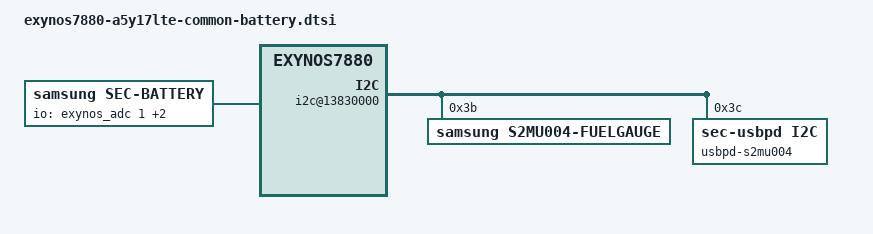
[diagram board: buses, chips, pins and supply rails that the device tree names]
/*
 * SAMSUNG UNIVERSAL7880 board device tree source
 *
 * Copyright (c) 2016 Samsung Electronics Co., Ltd.
 *		http://www.samsung.com
 *
 * This program is free software; you can redistribute it and/or modify
 * it under the terms of the GNU General Public License version 2 as
 * published by the Free Software Foundation.
*/

/ {
	pinctrl@139F0000 {
		fuel_irq: fuel-irq {
			samsung,pins = "gpa0-3";
			samsung,pin-function = <0>;
			samsung,pin-pud = <2>;
			samsung,pin-drv = <0>;
		};

		if_pmic_irq: if-pmic-irq {
			samsung,pins = "gpa2-7";
			samsung,pin-function = <0>;
			samsung,pin-pud = <0>;
			samsung,pin-drv = <0>;
		};

		usbpd_irq: usbpd-irq {
			samsung,pins = "gpa1-3";
			samsung,pin-function = <0x0f>;
			samsung,pin-pud = <0>;
			samsung,pin-drv = <0>;
		};
	};

	i2c@13830000 {
		i2c-gpio,delay-us = <5>;
		status = "okay";
		s2mu004-fuelgauge@3B {
			compatible = "samsung,s2mu004-fuelgauge";
			reg = <0x3B>;
			pinctrl-names = "default";
			pinctrl-0 = <&fuel_irq>;
			fuelgauge,fuel_int = <&gpa0 3 0>;
			fuelgauge,fuel_alert_soc = <1>;
			fuelgauge,fuel_alert_vol = <3300>;
			fuelgauge,capacity_max = <1000>;
			fuelgauge,capacity_max_margin = <200>;
			fuelgauge,capacity_min = <0>;
			fuelgauge,capacity_calculation_type = <28>;
			fuelgauge,capacity_full = <3000>;
			fuelgauge,type_str = "SDI";
			fuelgauge,model_type = <1>;
		};
		usbpd-s2mu004@3C {
			compatible = "sec-usbpd,i2c";
			reg = <0x3C>;
			pinctrl-names = "default";
			pinctrl-0     = <&usbpd_irq>;
			usbpd,usbpd_int = <&gpa1 3 0>;
		};
	};

	battery_params {
			battery,battery_data = 
				<
				/***** battery data for 4.35 *****/
				/* battery,battery_table3 */
				204 11 61 11 175 10 34 10 169 9
				55 9 206 8 107 8 230 7 166 7
				77 7 234 6 174 6 130 6 95 6
				67 6 36 6 253 5 197 5 147 5
				42 5 168 1 247 8 136 8 24 8
				169 7 58 7 202 6 91 6 236 5
				124 5 13 5 158 4 47 4 191 3
				80 3 225 2 113 2 2 2 147 1
				36 1 180 0 69 0 214 15

				/* battery,battery_table4 */
				62 62 61 60 61 60 59 60 60 58
				58 58 58 58 58 58 59 60 62 64
				76 154

				/* battery,batcap */
				0xE0 0x2E 0xB8 0x0B /* [0x0E] [0x0F] [0x10] [0x11] */
				/* battery,accum */ 
				0x8 0x00 /* [0x45] [0x44] */

				/* battery,soc_arr_val */
				11205 10662 10119 9575 9032 8488 7945 7402 6858 6315 5771 5228 4685 4141 3598 3054 2511 1968 1424 881 337 (-206)
				/* battery,ocv_arr_val */
				44747 44050 43353 42664 42077 41520 41006 40522 39872 39562 39127 38645 38349 38135 37966 37828 37676 37485 37211 36970 36454 32069


				/***** battery data for 4.33 *****/
				/* battery,battery_table3 */
				80 11 211 10 85 10 216 9 99 9
				244 8 141 8 41 8 212 7 133 7
				22 7 207 6 158 6 120 6 89 6
				63 6 29 6 243 5 196 5 136 5 
				105 5 199 2 219 8 110 8 0 8
				146 7 37 7 183 6 73 6 220 5
				110 5 0 5 147 4 37 4 183 3 
				74 3 220 2 111 2 1 2 147 1
				38 1 184 0 74 0 221 15

				/* battery,battery_table4 */
				53 53 52 52 52 53 53 53 52 52
				53 53 54 54 53 54 54 55 56 61
				75 133

				/* battery,batcap */
				0x10 0x2C 0x04 0x0B /* [0x0E] [0x0F] [0x10] [0x11] */
				/* battery,accum */
				0x8 0x00 /* [0x45] [0x44] */

				/* battery,soc_arr_val */
				11070 10535 10000 9465 8929 8394 7859 7323 6788 6252 5717 5182 4646 4111 3576 3040 2505 1970 1434 898 363 (-173)
				/* battery,ocv_arr_val */
				44143 43530 42917 42304 41734 41194 40687 40199 39787 39399 38859 38509 38272 38085 37936 37808 37642 37439 37205 36913 36763 33474
		
				/***** battery data for 4.31 *****/
				/* battery,battery_table3 */
				40 11 172 10 48 10 181 9 66 9
				213 8 114 8 14 8 190 7 105 7
				252 6 191 6 146 6 110 6 81 6
				56 6 17 6 234 5 177 5 133 5
				9 5 92 1 223 8 112 8 0 8
				144 7 33 7 177 6 65 6 210 5
				98 5 242 4 131 4 19 4 163 3
				52 3 196 2 84 2 229 1 117 1
				5 1 149 0 38 0 201 15

				/* battery,battery_table4 */
				51 51 51 51 51 52 52 52 53 52
				52 53 53 54 54 55 55 56 56 58
				62 151

				/* battery,batcap */                                  
				0x48 0x2B 0xD2 0x0A /* [0x0E] [0x0F] [0x10] [0x11] */ 
				/* battery,accum */
				0x8 0x00 /* [0x45] [0x44] */

				/* battery,soc_arr_val */
				11090 10545 10000 9455 8909 8364 7819 7274 6728 6183 5638 5092 4547 4002 3457 2911 2366 1821 1275 730 185 (-270)
				/* battery,ocv_arr_val */
				43944 43340 42736 42132 41573 41042 40556 40069 39680 39264 38730 38431 38211 38036 37896 37774 37582 37392 37114 36900 36295 31701

				/***** battery data for 4.29 *****/
				/* battery,battery_table3 */
				254 10 132 10 10 10 144 9 30 9
				179 8 81 8 243 7 166 7 67 7
				230 6 176 6 134 6 101 6 74 6
				46 6 4 6 219 5 153 5 130 5
				97 4 70 1 226 8 113 8 0 8
				143 7 30 7 173 6 60 6 203 5
				90 5 233 4 120 4 7 4 150 3
				37 3 180 2 67 2 211 1 97 1
				240 0 127 0 14 0 210 15

				/* battery,battery_table4 */
				52 52 52 51 51 52 52 52 53 52
				52 52 53 54 54 55 55 56 57 60
				68 135

				/* battery,batcap */                                  
				0xA8 0x2A 0xAA 0x0A /* [0x0E] [0x0F] [0x10] [0x11] */ 
				/* battery,accum */
				0x8 0x00 /* [0x45] [0x44] */

				/* battery,soc_arr_val */
				11104 10552 10000 9448 8897 8345 7794 7242 6690 6139 5587 5036 4484 3932 3381 2829 2278 1726 1174 622 70 (-224)

				/* battery,ocv_arr_val */
				43742 43145 42548 41951 41397 40875 40395 39938 39560 39077 38622 38358 38154 37991 37861 37724 37518 37319 36996 36884 35474 31590	

				/***** battery data for 4.24 *****/
				/* batterybattery_table3 */
				9 11 147 10 29 10 167 9 50 9
				196 8 97 8 0 8 177 7 88 7
				240 6 183 6 140 6 105 6 78 6
				51 6 9 6 227 5 165 5 132 5
				183 4 67 1 100 9 238 8 119 8
				0 8 137 7 19 7 156 6 37 6
				174 5 56 5 193 4 74 4 212 3
				93 3 230 2 111 2 249 1 130 1
				11 1 148 0 30 0 206 15

				/* batterybattery_table4 */
				51 51 51 51 51 51 52 52 52 52
				52 52 53 54 54 55 55 56 57 60
				66 154

				/* batterybatcap */                                  
				0xA0 0x28 0x28 0x0A/* [0x0E] [0x0F] [0x10] [0x11] */ 
				/* batteryaccum */
				0x8 0x00 /* [0x45] [0x44] */

				/* batterysoc_arr_val */
				11740 11160 10580 10000 9420 8841 8261 7681 7101 6522 5942 5362 4783 4203 3623 3043 2464 1884 1304 725 145 (-245)

				/* batteryocv_arr_val */
				43793 43218 42643 42068 41493 40958 40475 40001 39614 39178 38671 38394 38182 38014 37881 37750 37546 37358 37056 36896 35892 31579
				>;
	
			battery,battery_table3 = <204 11 61 11 175 10 34 10 169 9
						55 9 206 8 107 8 230 7 166 7
						77 7 234 6 174 6 130 6 95 6
						67 6 36 6 253 5 197 5 147 5
						42 5 168 1 247 8 136 8 24 8
						169 7 58 7 202 6 91 6 236 5
						124 5 13 5 158 4 47 4 191 3
						80 3 225 2 113 2 2 2 147 1
						36 1 180 0 69 0 214 15>;

			battery,battery_table4 = <62 62 61 60 61 60 59 60 60 58
						58 58 58 58 58 58 59 60 62 64
						76 154>;

			battery,batcap = <0xE0 0x2E 0xB8 0x0B>; /* [0x0E] [0x0F] [0x10] [0x11] */
			battery,accum = <0x8 0x00>; /* [0x45] [0x44] */

			battery,soc_arr_val = <11205 10662 10119 9575 9032 8488 7945 7402 6858 6315 5771 5228 4685 4141 3598 3054 2511 1968 1424 881 337 (-206)>;
			battery,ocv_arr_val = <44747 44050 43353 42664 42077 41520 41006 40522 39872 39562 39127 38645 38349 38135 37966 37828 37676 37485 37211 36970 36454 32069>;
	};

	pdic-manager {
		/* sink */
		pdic,max_power = <5000>;
		pdic,op_power = <2500>;
		pdic,max_voltage = <6000>;
		pdic,max_current = <2000>;
		pdic,min_current = <500>;

		pdic,giveback = <0>;
		pdic,usb_com_capable = <1>;
		pdic,no_usb_suspend = <1>;

		/* source */
		source,max_voltage = <5000>;
		source,min_voltage = <4000>;
		source,max_power = <2500>;

		/* sink cap */
		sink,capable_max_voltage = <9000>;
	};

	battery {
		status = "okay";
		compatible = "samsung,sec-battery";

		pinctrl-names = "default";

		battery,vendor = "SDI SDI";
		battery,charger_name = "s2mu004-charger";
		battery,fuelgauge_name = "s2mu004-fuelgauge";
		battery,technology = <2>; /* POWER_SUPPLY_TECHNOLOGY_LION */

		battery,chip_vendor = "LSI";
		battery,temp_adc_type = <1>; /* SEC_BATTERY_ADC_TYPE_AP */

		battery,chg_thermal_source = <1>;  /* SEC_CHARGER_THERMAL_SOURCE_ADC */
		battery,chg_temp_check = <1>;
		battery,slave_chg_temp_check = <0>;

		battery,polling_time = <10 30 30 30 3600>;

		battery,temp_table_adc = <297 343 389 475 543 622 674 767 821 903 1049 1208 1332 1405 1481 1590 1816 2026
						2253 2493 2629 2718 2809 2939 3115 3306 3431 3569 3676>;
		battery,temp_table_data = <900 850 800 750 700 650 620 600 580 550 500 450 420 400 380 350 300 250
						200 150 120 100 80 50 0 (-50) (-100) (-150) (-200)>;

		battery,chg_temp_table_adc = <236 308 376 449 509 581 593 760 816 901 1046 1211 1334 1405 1482 1586 1790 2001
						2217 2445 2570 2655 2740 2858 3046 3199 3335 3453 3537>;
		battery,chg_temp_table_data = <900 850 800 750 700 650 620 600 580 550 500 450 420 400 380 350 300 250
						200 150 120 100 80 50 0 (-50) (-100) (-150) (-200)>;

		battery,input_current_limit = <1800 450 450 1800 500 900 1500 450 1000 450 900 900 900 1900 1800 450 450 400 700 1300 300 1000 1500 450 1650 2100 500 1650 80 1800 1650 1400 1000 1000 700 900 900 900 500 1800 1650 3000>;
		battery,fast_charging_current = <2100 450 450 2100 800 1200 1500 450 1200 450 2100 2100 2100 1600 2100 450 450 400 700 1300 300 1000 1500 450 2400 3500 500 2400 80 1800 1000 1400 450 1000 2100 2100 2100 2100 450 2100 2400 3000>;
		battery,full_check_current_1st = <300 0 0 300 300 300 300 300 300 0 300 300 300 300 300 0 0 300 300 300 300 300 300 0 300 300 300 300 0 300 300 300 0 300 300 300 300 300 300 300 300 300>;
		battery,full_check_current_2nd = <150 0 0 150 150 150 150 150 150 0 150 150 150 150 150 0 0 150 150 150 150 150 150 0 150 150 150 150 0 150 150 150 0 150 150 150 150 150 150 150 150 150>;

		battery,wireless_cc_cv = <85>;
		battery,inbat_voltage = <1>;

		battery,inbat_voltage_table_adc = <2817 2803 2783 2753 2728 2701 2680 2654 2628 2597
						2565 2536 2509 2478 2450 2426 2401 2372 2343 2321 2290>;
		battery,inbat_voltage_table_data = <4383 4352 4306 4253 4204 4152 4101 4053 4002 3954
						3903 3852 3801 3750 3702 3654 3601 3552 3503 3456 3402>;

		battery,adc_check_count = <5>;

		battery,cable_check_type = <4>; /* SEC_BATTERY_CABLE_CHECK_PSY */
		battery,cable_source_type = <1>; /* SEC_BATTERY_CABLE_SOURCE_EXTERNAL */
		battery,polling_type = <1>; /* SEC_BATTERY_MONITOR_ALARM */
		battery,monitor_initial_count = <0>;

		battery,pre_afc_input_current = <500>;

		battery,battery_check_type = <0>; /* SEC_BATTERY_CHECK_NONE */
		battery,check_count = <0>;
		battery,check_adc_max = <1440>;
		battery,check_adc_min = <0>;

		battery,ovp_uvlo_check_type = <3>; /* SEC_BATTERY_OVP_UVLO_CHGPOLLING */

		battery,thermal_source = <2>; /* SEC_BATTERY_THERMAL_SOURCE_ADC */

		battery,temp_check_type = <2>; /* SEC_BATTERY_TEMP_CHECK_TEMP */
		battery,temp_check_count = <1>;
		battery,temp_highlimit_threshold_normal = <800>;
		battery,temp_highlimit_recovery_normal = <750>;
		battery,temp_high_threshold_normal = <500>;
		battery,temp_high_recovery_normal = <450>;
		battery,temp_low_threshold_normal = <0>;
		battery,temp_low_recovery_normal = <50>;
		battery,temp_highlimit_threshold_lpm = <800>;
		battery,temp_highlimit_recovery_lpm = <750>;
		battery,temp_high_threshold_lpm = <500>;
		battery,temp_high_recovery_lpm = <450>;
		battery,temp_low_threshold_lpm = <0>;
		battery,temp_low_recovery_lpm = <50>;

		battery,full_check_type = <2>; /* SEC_BATTERY_FULLCHARGED_FG_CURRENT */
		battery,full_check_type_2nd = <2>; /* SEC_BATTERY_FULLCHARGED_FG_CURRENT */
		battery,full_check_count = <1>;
		battery,chg_gpio_full_check = <0>;
		battery,chg_polarity_full_check = <1>;

		battery,chg_heating_prevention_method = <1>; /* SEC_BATTERY_BY_CHANGING_CURRENT */
		battery,chg_12v_high_temp = <615>;
		battery,chg_high_temp = <465>;
		battery,chg_high_temp_recovery = <460>;
		battery,chg_charging_limit_current = <1100>;

		battery,wpc_high_temp = <460 495>;
		battery,wpc_high_temp_recovery = <459 400>;
		battery,wpc_charging_limit_current = <540 400>;
		battery,wpc_heat_temp_recovery = <360>;
		battery,wpc_lcd_on_high_temp = <470>;
		battery,wpc_lcd_on_high_temp_rec = <300>;
		battery,wpc_hv_lcd_on_input_limit_current = <400>;

		battery,sleep_mode_limit_current = <500>;
		battery,wc_full_input_limit_current = <100>;
		battery,wc_heating_input_limit_current = <400>;
		battery,wc_heating_time = <300>; /* 5 min */
		battery,wc_cv_current = <820>;
		battery,wc_cv_pack_current = <630>;

		battery,mix_high_temp = <420>;
		battery,mix_high_chg_temp = <500>;
		battery,mix_high_temp_recovery = <390>;

		/* SEC_BATTERY_FULL_CONDITION_SOC |
		   SEC_BATTERY_FULL_CONDITION_NOTIMEFULL |
		   SEC_BATTERY_FULL_CONDITION_VCELL */
		battery,full_condition_type = <13>;
		battery,full_condition_soc = <93>;
		battery,full_condition_vcell = <4250>;

		battery,recharge_check_count = <1>;
		battery,recharge_condition_type = <4>; /* SEC_BATTERY_RECHARGE_CONDITION_VCELL */
		battery,recharge_condition_soc = <98>;
		battery,recharge_condition_vcell = <4280>;

		battery,expired_time = <10500>; /* 115+60mins */
		battery,recharginig_expired_time = <5400>;
		battery,standard_curr = <2400>;

		battery,charging_total_time = <21600>;
		battery,recharging_total_time = <5400>;
		battery,charging_reset_time = <0>;

		battery,chg_float_voltage = <4350>;

		battery,swelling_high_temp_block = <410>;
		battery,swelling_high_temp_recov = <390>;

		battery,swelling_low_temp_2step_mode = <1>;
		battery,swelling_low_temp_block_1st = <150>;
		battery,swelling_low_temp_recov_1st = <200>;
		battery,swelling_low_temp_block_2nd = <50>;
		battery,swelling_low_temp_recov_2nd = <100>;
		battery,swelling_low_temp_additional = <50>;

		battery,swelling_low_temp_current = <900>;
		battery,swelling_low_temp_topoff = <150>;
		battery,swelling_high_temp_current = <1350>;
		battery,swelling_high_temp_topoff = <150>;

		battery,swelling_drop_float_voltage = <4150>;
		battery,swelling_high_rechg_voltage = <4000>;
		battery,swelling_low_rechg_voltage = <4000>;

		battery,factory_fast_charging_current = <1000>;
	
		battery,self_discharging_temp_block = <600>;
		battery,self_discharging_volt_block = <4250>;
		battery,self_discharging_temp_recov = <550>;
		battery,self_discharging_temp_pollingtime = <400>;

		battery,siop_event_check_type = <1>;
		battery,siop_call_cv_current = <330>;
		battery,siop_call_cc_current = <330>;

		battery,siop_input_limit_current = <1200>;
		battery,siop_charging_limit_current = <1000>;
		battery,siop_hv_input_limit_current = <700>;
		battery,siop_hv_charging_limit_current = <1200>;
		battery,siop_hv_12v_input_limit_current = <535>;
		battery,siop_hv_12v_charging_limit_current = <1000>;

		battery,siop_wireless_input_limit_current = <600>;
		battery,siop_wireless_charging_limit_current = <1000>;
		battery,siop_hv_wireless_input_limit_current = <600>;
		battery,siop_hv_wireless_charging_limit_current = <1000>;

		battery,ttf_hv_12v_charge_current = <2350>;
		battery,ttf_hv_charge_current = <2200>;
		battery,ttf_hv_wireless_charge_current = <1500>;

		/* cycle, chg_float_voltage, recharge_condition_vcell, full_condition_vcell, full_condition_soc */
		battery,age_data = <0 4350 4280 4250 92	/*4.35*/
				200 4330 4260 4230 91	/*4.33*/
				250 4310 4240 4210 89	/*4.31*/
				300 4290 4220 4190 87	/*4.29*/
				1000 4240 4170 4140 83	/*4.24*/
				>;

		/* values for using CONFIG_STEP_CHARGING */
		battery,step_charging_type = <0x5>;
		battery,step_charging_charge_power = <20000>;
		battery,step_charging_condtion = <4100 4400>;
		battery,step_charging_current = <4200 3000>;
		/* values for not using CONFIG_STEP_CHARGING */
		battery,base_charge_power = <15000>;
		battery,max_charging_current = <2400>;

		battery,max_input_voltage = <9000>; /* mV */
		battery,max_input_current = <3000>;  /* mA */

		battery,prepare_afc_delay = <0>;

		battery,cisd_data_efs_path = "a5y17lte";
	
		io-channels = <&exynos_adc 1>, <&exynos_adc 3>, <&exynos_adc 6>;
		io-channel-names = "adc-temp", "adc-in-bat", "adc-chg-temp";
		#io-channel-cells = <5>;
		io-channel-ranges;
	};

	s2mu004-charger {
		status = "disable";
		compatible = "samsung,s2mu004-charger";
		battery,is_1MHz_switching = <1>;
		battery,chg_gpio_en = <0>;
		battery,chg_polarity_en = <0>;
		battery,chg_gpio_status = <0>;
		battery,chg_polarity_status = <0>;
	};
};
